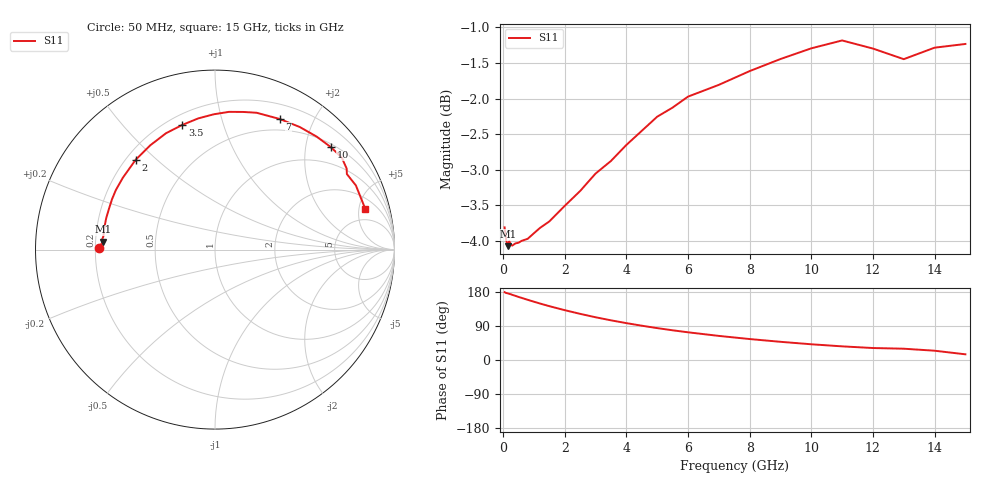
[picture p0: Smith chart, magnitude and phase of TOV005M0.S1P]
! SIEMENS Small Signal Semiconductors
! BAT15-03W
! Si Schottky Diode in SOD323
! IF = 5 mA
! S-Parameters:  May  1996
# GHz  S  MA  R  50
!  f  S11
! GHz  MAG  ANG
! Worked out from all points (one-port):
!   31 points, 50 MHz to 15 GHz, reference 50 ohm
!   lowest |S11| = -4.1 dB at 150 MHz (marker M1), VSWR 4.34, Z = 11.5 + j1.65 ohm
!   |S11| at or under -10 dB: nowhere
!   S11 on the Smith chart (normalised r, x): 50 MHz: 0.22, +0.01; 2 GHz: 0.24, +0.43; 3.5 GHz: 0.26, +0.74; 7 GHz: 0.36, +1.55; 10 GHz: 0.57, +2.53; 15 GHz: 3.22, +5.86
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0.05  0.6449 179.0
0.1  0.632 176.8
0.15  0.6256 176.0
0.2  0.6308 174.6
0.25  0.6268 173.5
0.3  0.6262 171.9
0.6  0.631 164.0
1  0.6388 153.9
1.2  0.6444 149.0
1.5  0.6511 142.1
2  0.6677 131.5
2.5  0.684 121.8
3  0.7036 112.8
3.5  0.7181 104.7
4  0.7369 97.3
4.5  0.754 90.5
5  0.7714 84.2
5.5  0.7829 78.4
6  0.7969 73.1
7  0.8122 63.6
8  0.8305 55.3
9  0.8469 48.0
10  0.8617 41.5
11  0.8727 36.0
12  0.8613 31.6
13  0.8467 29.8
14  0.8626 24.5
15  0.8678 15.0
